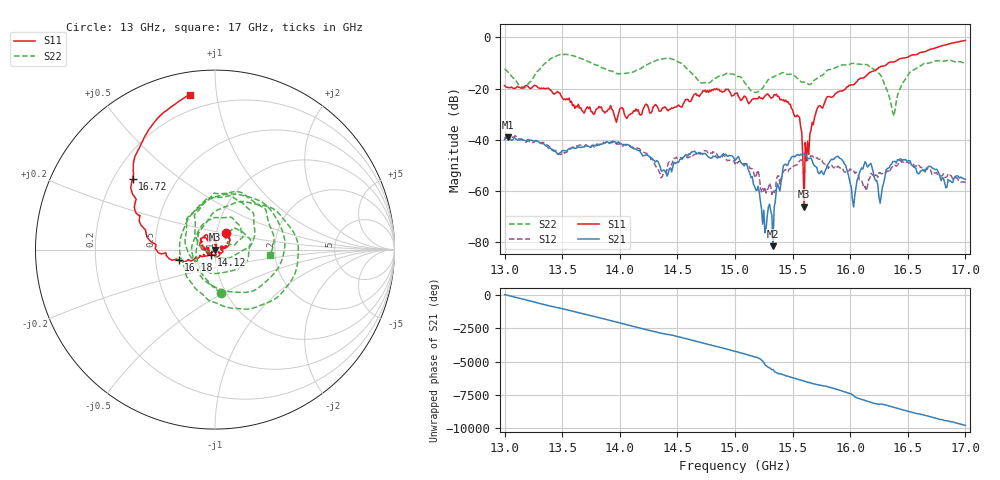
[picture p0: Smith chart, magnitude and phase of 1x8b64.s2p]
!Keysight Technologies,P9374A,MY57211807,A.19.30.04
!Date: Friday, May 08, 2026 14:30:33
!Correction: S11(C  2-Port  )
!S21(C  2-Port  )
!S12(C  2-Port  )
!S22(C  2-Port  )
!S2P File: Measurements: S11, S21, S12, S22:
# Hz S  dB  R 50
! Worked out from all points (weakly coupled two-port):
!   401 points, 13 GHz to 17 GHz, reference 50 ohm
!   highest |S21| = -39.05 dB at 13.03 GHz (marker M1); lowest = -81.7 dB at 15.33 GHz (marker M2)
!   lowest |S11| = -66.2 dB at 15.6 GHz (marker M3), VSWR 1.00, Z = 50 + j0.0483 ohm
!   |S11| at or under -10 dB: start of sweep to 16.33 GHz
!   |S22| runs from -30.8 to -6.6 dB; largest |S21 - S12| = 0.003
!   S11 on the Smith chart (normalised r, x): 13 GHz: 1.11, +0.21; 14.12 GHz: 0.96, -0.06; 16.18 GHz: 0.66, -0.08; 16.72 GHz: 0.28, +0.34; 17 GHz: 0.12, +0.84
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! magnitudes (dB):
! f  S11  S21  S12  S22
! 13 GHz  -18.9  -40.0  -39.5  -12.3
! 13.03 GHz  -19.6  -39.1  -38.5  -13.5
! 13.17 GHz  -19.2  -40.2  -40.6  -19.8
! 13.42 GHz  -21.9  -44.3  -44.0  -7.8
! 13.67 GHz  -28.5  -43.0  -42.3  -8.3
! 14.12 GHz  -28.7  -43.6  -43.3  -13.4
! 14.34 GHz  -28.7  -49.5  -52.5  -8.6
! 15 GHz  -21.9  -48.2  -49.5  -14.6
! 15.11 GHz  -25.2  -50.9  -50.3  -19.2
! 15.25 GHz  -23.5  -67.6  -60.1  -19.1
! 15.33 GHz  -23.3  -81.7  -59.7  -15.5
! 15.43 GHz  -25.1  -49.7  -52.0  -13.9
! 15.55 GHz  -30.9  -45.8  -49.0  -16.4
! 15.6 GHz  -66.2  -45.4  -47.2  -17.5
! 15.67 GHz  -33.2  -48.2  -46.4  -17.6
! 15.91 GHz  -21.0  -47.3  -51.1  -11.0
! 16.03 GHz  -18.5  -66.4  -52.3  -10.1
! 16.18 GHz  -13.6  -49.3  -53.2  -11.8
! 16.26 GHz  -11.5  -64.9  -53.1  -14.5
! 16.34 GHz  -9.8  -51.0  -52.9  -23.4
! 16.72 GHz  -4.4  -51.2  -53.7  -9.4
! 17 GHz  -1.2  -55.6  -56.9  -10.3
